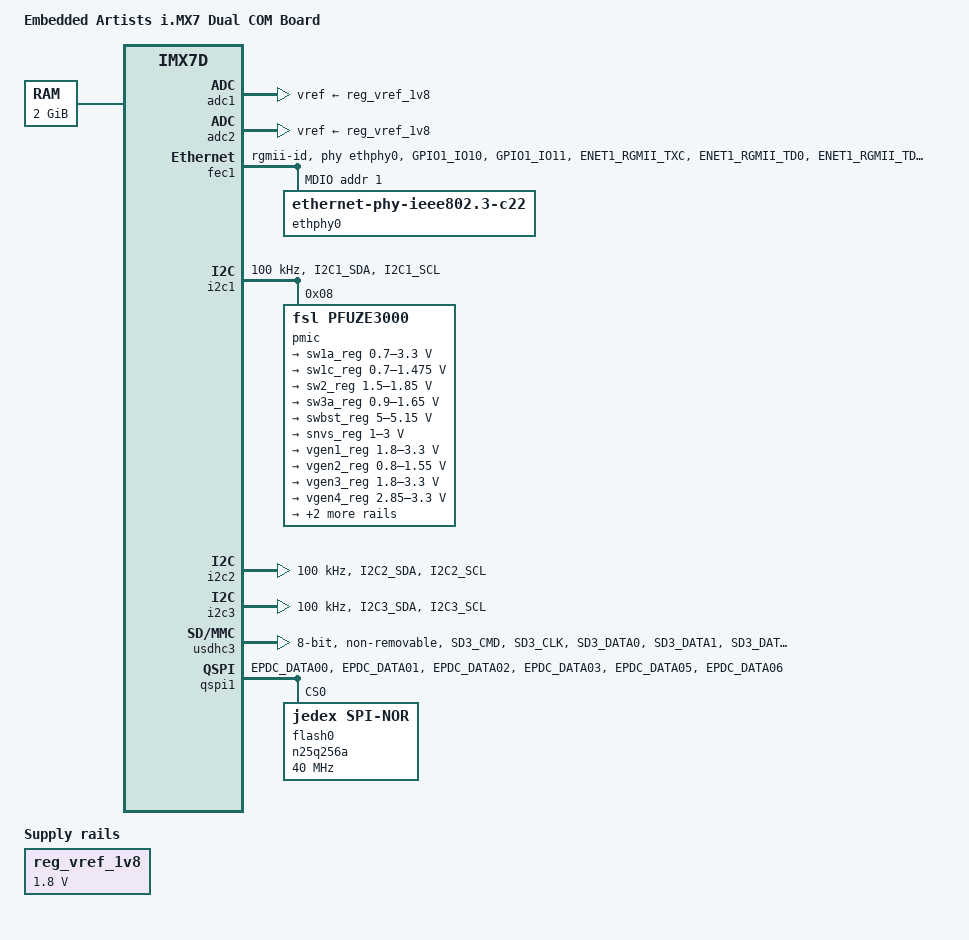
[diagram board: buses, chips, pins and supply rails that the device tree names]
/*
 * Copyright (C) 2015 Freescale Semiconductor, Inc.
 *
 * This program is free software; you can redistribute it and/or modify
 * it under the terms of the GNU General Public License version 2 as
 * published by the Free Software Foundation.
 */

/dts-v1/;
 
#include <dt-bindings/input/input.h>
#include "imx7d.dtsi"

/ {
	model = "Embedded Artists i.MX7 Dual COM Board";
	compatible = "fsl,imx7dea-com", "fsl,imx7d";

	memory@80000000 {
		device_type = "memory";
		reg = <0x80000000 0x80000000>;
	};

	reserved-memory {
		#address-cells = <1>;
		#size-cells = <1>;
		ranges;

		linux,cma {
			compatible = "shared-dma-pool";
			reusable;
			size = <0x14000000>;
			linux,cma-default;
		};
	};

	regulators {
		compatible = "simple-bus";
		#address-cells = <1>;
		#size-cells = <0>;

		reg_vref_1v8: regulator@3 {
			compatible = "regulator-fixed";
			regulator-name = "vref-1v8";
			regulator-min-microvolt = <1800000>;
			regulator-max-microvolt = <1800000>;
		};

	};

};

&adc1 {
	vref-supply = <&reg_vref_1v8>;
	status = "okay";
};

&adc2 {
	vref-supply = <&reg_vref_1v8>;
	status = "okay";
};

&cpu0 {
	cpu-supply = <&sw1a_reg>;
};

&cpu1 {
	cpu-supply = <&sw1a_reg>;
};

&fec1 {
	pinctrl-names = "default";
	pinctrl-0 = <&pinctrl_enet1>;
	pinctrl-assert-gpios = <&gpio7 15 GPIO_ACTIVE_LOW>;
	assigned-clocks = <&clks IMX7D_ENET1_TIME_ROOT_SRC>,
			  <&clks IMX7D_ENET1_TIME_ROOT_CLK>;
	assigned-clock-parents = <&clks IMX7D_PLL_ENET_MAIN_100M_CLK>;
	assigned-clock-rates = <0>, <100000000>;
	phy-mode = "rgmii-id";
	phy-handle = <&ethphy0>;
	fsl,magic-packet;
	status = "okay";

	mdio {
		#address-cells = <1>;
		#size-cells = <0>;

		ethphy0: ethernet-phy@1 {
			compatible = "ethernet-phy-ieee802.3-c22";
			reg = <1>;

			/* Properties for the Realtek PHY */
			rtl821x,aldps-disable;
			rtl821x,clkout-disable;

			/* Properties applied to both PHYs but only needed for Realtek PHY*/
			rx-internal-delay-ps = <2000>;
			tx-internal-delay-ps = <2000>;
			eee-broken-1000t;
		};
	};
};

&i2c1 {
	clock-frequency = <100000>;
	pinctrl-names = "default";
	pinctrl-0 = <&pinctrl_i2c1>;
	status = "okay";

        pmic: pfuze3000@8 {
                compatible = "fsl,pfuze3000";
                reg = <0x08>;

                regulators {
                        sw1a_reg: sw1a {
                                regulator-min-microvolt = <700000>;
                                regulator-max-microvolt = <3300000>;
                                regulator-boot-on;
                                regulator-always-on;
                                regulator-ramp-delay = <6250>;
                        };

                        /* use sw1c_reg to align with pfuze100/pfuze200 */
                        sw1c_reg: sw1b {
                                regulator-min-microvolt = <700000>;
                                regulator-max-microvolt = <1475000>;
                                regulator-boot-on;
                                regulator-always-on;
                                regulator-ramp-delay = <6250>;
                        };

                        sw2_reg: sw2 {
                                regulator-min-microvolt = <1500000>;
                                regulator-max-microvolt = <1850000>;
                                regulator-boot-on;
                                regulator-always-on;
                        };

                        sw3a_reg: sw3 {
                                regulator-min-microvolt = <900000>;
                                regulator-max-microvolt = <1650000>;
                                regulator-boot-on;
                                regulator-always-on;
                        };

                        swbst_reg: swbst {
                                regulator-min-microvolt = <5000000>;
                                regulator-max-microvolt = <5150000>;
                        };

                        snvs_reg: vsnvs {
                                regulator-min-microvolt = <1000000>;
                                regulator-max-microvolt = <3000000>;
                                regulator-boot-on;
                                regulator-always-on;
                        };

                        vref_reg: vrefddr {
                                regulator-boot-on;
                                regulator-always-on;
                        };

                        vgen1_reg: vldo1 {
                                regulator-min-microvolt = <1800000>;
                                regulator-max-microvolt = <3300000>;
                                regulator-always-on;
                        };

                        vgen2_reg: vldo2 {
                                regulator-min-microvolt = <800000>;
                                regulator-max-microvolt = <1550000>;
                                regulator-always-on;
                        };

                        vgen3_reg: vccsd {
                                regulator-min-microvolt = <1800000>;  /* Murata: VIO for SDIO interface */
                                regulator-max-microvolt = <3300000>;
				regulator-boot-on; /* Murata -- does this make difference? */
                                regulator-always-on;
                        };

                        vgen4_reg: v33 {
                                regulator-min-microvolt = <2850000>;
                                regulator-max-microvolt = <3300000>;
                                regulator-always-on;
                        };

                        vgen5_reg: vldo3 {
                                regulator-min-microvolt = <1800000>;
                                regulator-max-microvolt = <3300000>;
                                regulator-always-on;
                        };

                        vgen6_reg: vldo4 {
                                regulator-min-microvolt = <1800000>;
                                regulator-max-microvolt = <3300000>;
                                regulator-always-on;
                        };
                };
        };

};

&i2c2 {
        clock-frequency = <100000>;
        pinctrl-names = "default";
        pinctrl-0 = <&pinctrl_i2c2>;
        status = "okay";
};

&i2c3 {
        clock-frequency = <100000>;
        pinctrl-names = "default";
        pinctrl-0 = <&pinctrl_i2c3>;
        status = "okay";
};

&i2c4 {
        clock-frequency = <100000>;
        pinctrl-names = "default";
        pinctrl-0 = <&pinctrl_i2c4>;
        status = "disabled";
};

&iomuxc {
	pinctrl-names = "default";

	imx7d-sdb {

		pinctrl_enet1: enet1grp {
			fsl,pins = <
				MX7D_PAD_GPIO1_IO10__ENET1_MDIO		0x3
				MX7D_PAD_GPIO1_IO11__ENET1_MDC		0x3
				MX7D_PAD_ENET1_RGMII_TXC__ENET1_RGMII_TXC	0x1
				MX7D_PAD_ENET1_RGMII_TD0__ENET1_RGMII_TD0	0x1
				MX7D_PAD_ENET1_RGMII_TD1__ENET1_RGMII_TD1	0x1
				MX7D_PAD_ENET1_RGMII_TD2__ENET1_RGMII_TD2	0x1
				MX7D_PAD_ENET1_RGMII_TD3__ENET1_RGMII_TD3	0x1
				MX7D_PAD_ENET1_RGMII_TX_CTL__ENET1_RGMII_TX_CTL	0x1
				MX7D_PAD_ENET1_RGMII_RXC__ENET1_RGMII_RXC	0x1
				MX7D_PAD_ENET1_RGMII_RD0__ENET1_RGMII_RD0	0x1
				MX7D_PAD_ENET1_RGMII_RD1__ENET1_RGMII_RD1	0x1
				MX7D_PAD_ENET1_RGMII_RD2__ENET1_RGMII_RD2	0x1
				MX7D_PAD_ENET1_RGMII_RD3__ENET1_RGMII_RD3	0x1
				MX7D_PAD_ENET1_RGMII_RX_CTL__ENET1_RGMII_RX_CTL	0x1
				MX7D_PAD_ENET1_COL__GPIO7_IO15                  0x1
				MX7D_PAD_ENET1_RX_CLK__GPIO7_IO13               0x1
			>;
		};

		pinctrl_i2c1: i2c1grp {
			fsl,pins = <
				MX7D_PAD_I2C1_SDA__I2C1_SDA	0x4000007f
				MX7D_PAD_I2C1_SCL__I2C1_SCL	0x4000007f
			>;
		};

		pinctrl_i2c2: i2c2grp {
			fsl,pins = <
				MX7D_PAD_I2C2_SDA__I2C2_SDA	0x4000007f
				MX7D_PAD_I2C2_SCL__I2C2_SCL	0x4000007f
			>;
		};

		pinctrl_i2c3: i2c3grp {
			fsl,pins = <
				MX7D_PAD_I2C3_SDA__I2C3_SDA          0x4000007f
				MX7D_PAD_I2C3_SCL__I2C3_SCL          0x4000007f
			>;
		};

		pinctrl_i2c4: i2c4grp {
			fsl,pins = <
				MX7D_PAD_SAI1_RX_BCLK__I2C4_SDA		0x4000007f
				MX7D_PAD_SAI1_RX_SYNC__I2C4_SCL		0x4000007f
			>;
		};

		pinctrl_usdhc3: usdhc3grp {
			fsl,pins = <
				MX7D_PAD_SD3_CMD__SD3_CMD	0x59
				MX7D_PAD_SD3_CLK__SD3_CLK	0x19
				MX7D_PAD_SD3_DATA0__SD3_DATA0	0x59
				MX7D_PAD_SD3_DATA1__SD3_DATA1	0x59
				MX7D_PAD_SD3_DATA2__SD3_DATA2	0x59
				MX7D_PAD_SD3_DATA3__SD3_DATA3	0x59
				MX7D_PAD_SD3_DATA4__SD3_DATA4	0x59
				MX7D_PAD_SD3_DATA5__SD3_DATA5	0x59
				MX7D_PAD_SD3_DATA6__SD3_DATA6	0x59
				MX7D_PAD_SD3_DATA7__SD3_DATA7	0x59
				MX7D_PAD_SD3_STROBE__SD3_STROBE	0x19
				MX7D_PAD_SD3_RESET_B__SD3_RESET 0x59
			>;
		};

		pinctrl_usdhc3_100mhz: usdhc3grp_100mhz {
			fsl,pins = <
				MX7D_PAD_SD3_CMD__SD3_CMD	0x5a
				MX7D_PAD_SD3_CLK__SD3_CLK	0x1a
				MX7D_PAD_SD3_DATA0__SD3_DATA0	0x5a
				MX7D_PAD_SD3_DATA1__SD3_DATA1	0x5a
				MX7D_PAD_SD3_DATA2__SD3_DATA2	0x5a
				MX7D_PAD_SD3_DATA3__SD3_DATA3	0x5a
				MX7D_PAD_SD3_DATA4__SD3_DATA4	0x5a
				MX7D_PAD_SD3_DATA5__SD3_DATA5	0x5a
				MX7D_PAD_SD3_DATA6__SD3_DATA6	0x5a
				MX7D_PAD_SD3_DATA7__SD3_DATA7	0x5a
				MX7D_PAD_SD3_STROBE__SD3_STROBE	0x1a
				MX7D_PAD_SD3_RESET_B__SD3_RESET 0x59
			>;
		};

		pinctrl_usdhc3_200mhz: usdhc3grp_200mhz {
			fsl,pins = <
				MX7D_PAD_SD3_CMD__SD3_CMD	0x5b
				MX7D_PAD_SD3_CLK__SD3_CLK	0x1b
				MX7D_PAD_SD3_DATA0__SD3_DATA0	0x5b
				MX7D_PAD_SD3_DATA1__SD3_DATA1	0x5b
				MX7D_PAD_SD3_DATA2__SD3_DATA2	0x5b
				MX7D_PAD_SD3_DATA3__SD3_DATA3	0x5b
				MX7D_PAD_SD3_DATA4__SD3_DATA4	0x5b
				MX7D_PAD_SD3_DATA5__SD3_DATA5	0x5b
				MX7D_PAD_SD3_DATA6__SD3_DATA6	0x5b
				MX7D_PAD_SD3_DATA7__SD3_DATA7	0x5b
				MX7D_PAD_SD3_STROBE__SD3_STROBE	0x1b
				MX7D_PAD_SD3_RESET_B__SD3_RESET 0x59
			>;
		};

                pinctrl_qspi1_1: qspi1grp_1 {
                        fsl,pins = <
                                MX7D_PAD_EPDC_DATA00__QSPI_A_DATA0 0x51
                                MX7D_PAD_EPDC_DATA01__QSPI_A_DATA1 0x51
                                MX7D_PAD_EPDC_DATA02__QSPI_A_DATA2 0x51
                                MX7D_PAD_EPDC_DATA03__QSPI_A_DATA3 0x51
                                MX7D_PAD_EPDC_DATA05__QSPI_A_SCLK 0x51
                                MX7D_PAD_EPDC_DATA06__QSPI_A_SS0_B 0x51
                        >;
                };

	};
};

&sdma {
	status = "okay";
};

/* eMMC */
&usdhc3 {
	pinctrl-names = "default", "state_100mhz", "state_200mhz";
	pinctrl-0 = <&pinctrl_usdhc3>;
	pinctrl-1 = <&pinctrl_usdhc3_100mhz>;
	pinctrl-2 = <&pinctrl_usdhc3_200mhz>;
	assigned-clocks = <&clks IMX7D_USDHC3_ROOT_CLK>;
	assigned-clock-rates = <100000000>;
	bus-width = <8>;
	tuning-step = <2>;
	non-removable;
	status = "okay";
};

&qspi1 {
        pinctrl-names = "default";
        pinctrl-0 = <&pinctrl_qspi1_1>;
        status = "okay";
        ddrsmp=<0>;

        flash0: n25q256a@0 {
                #address-cells = <1>;
                #size-cells = <1>;
                compatible = "jedex,spi-nor";
                spi-max-frequency = <40000000>;
		spi-nor,ddr-quad-read-dummy = <6>;
                reg = <0>;
        };
};

